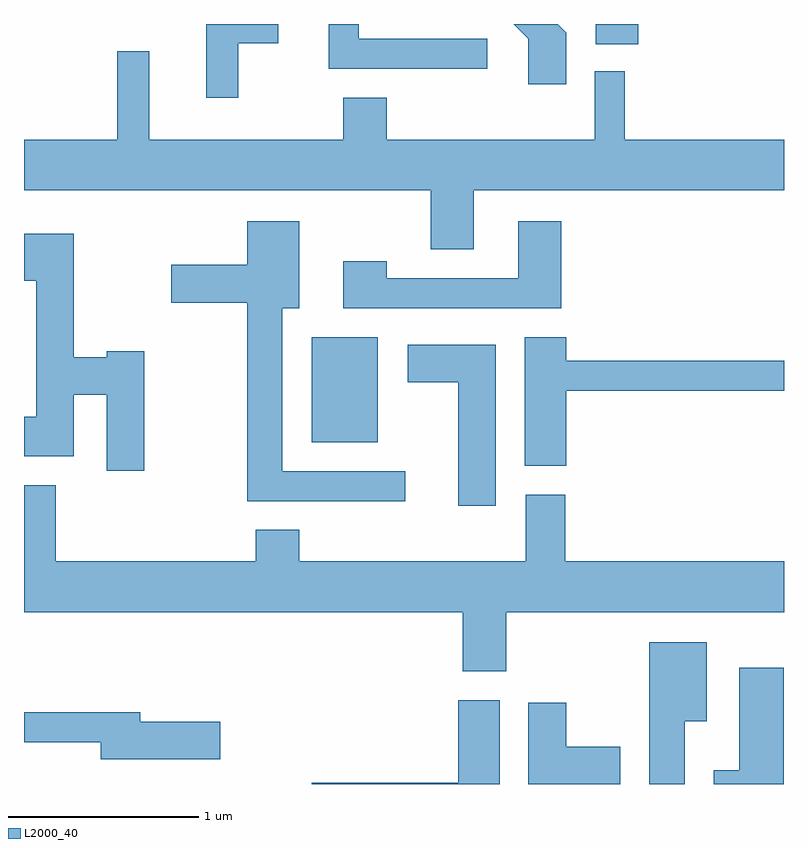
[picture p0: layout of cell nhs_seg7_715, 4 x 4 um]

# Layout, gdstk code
import gdstk
lib = gdstk.Library(unit=1e-6, precision=1e-09)
def R(c, l, rs):  # rectangles x0, y0, x1, y1
    for r in rs: c.add(gdstk.rectangle(r[:2], r[2:], *l))
def P(c, l, *ps):  # polygons
    for p in ps: c.add(gdstk.Polygon(p, *l))
L2000_40 = (2000, 40)

nhs_seg7_715 = lib.new_cell('nhs_seg7_715')
R(nhs_seg7_715, L2000_40, [(207.126,1764.051,207.474,1764.604), (208.621,1766.146,208.844,1766.252)])
P(nhs_seg7_715, L2000_40, [(206.739,1766.151),(206.949,1766.151),(206.949,1766.252),(206.571,1766.252),(206.571,1765.863),(206.739,1765.863)],
  [(208.464,1766.207),(208.419,1766.252),(208.188,1766.252),(208.266,1766.174),(208.266,1765.936),(208.464,1765.936)],
  [(208.048,1766.174),(207.374,1766.174),(207.374,1766.252),(207.216,1766.252),(207.216,1766.016),(208.048,1766.016)],
  [(207.979,1765.376),(209.611,1765.376),(209.611,1765.644),(208.774,1765.644),(208.774,1766.003),(208.616,1766.003),(208.616,1765.644),(207.519,1765.644),(207.519,1765.864),(207.291,1765.864),(207.291,1765.644),(206.269,1765.644),(206.269,1766.108),(206.101,1766.108),(206.101,1765.644),(205.611,1765.644),(205.611,1765.376),(207.751,1765.376),(207.751,1765.066),(207.979,1765.066)],
  [(208.439,1765.214),(208.211,1765.214),(208.211,1764.914),(207.519,1764.914),(207.519,1765.004),(207.291,1765.004),(207.291,1764.756),(208.439,1764.756)],
  [(207.618,1763.899),(206.969,1763.899),(206.969,1764.756),(207.059,1764.756),(207.059,1765.214),(206.786,1765.214),(206.786,1764.984),(206.386,1764.984),(206.386,1764.786),(206.786,1764.786),(206.786,1763.741),(207.618,1763.741)],
  [(206.244,1764.529),(206.046,1764.529),(206.046,1764.499),(205.874,1764.499),(205.874,1765.149),(205.611,1765.149),(205.611,1764.901),(205.676,1764.901),(205.676,1764.184),(205.611,1764.184),(205.611,1763.976),(205.874,1763.976),(205.874,1764.301),(206.046,1764.301),(206.046,1763.901),(206.244,1763.901)],
  [(208.464,1764.321),(209.611,1764.321),(209.611,1764.479),(208.464,1764.479),(208.464,1764.604),(208.246,1764.604),(208.246,1763.926),(208.464,1763.926)],
  [(208.094,1764.564),(207.631,1764.564),(207.631,1764.366),(207.896,1764.366),(207.896,1763.716),(208.094,1763.716)],
  [(208.149,1763.156),(209.611,1763.156),(209.611,1763.424),(208.459,1763.424),(208.459,1763.774),(208.251,1763.774),(208.251,1763.424),(207.059,1763.424),(207.059,1763.589),(206.831,1763.589),(206.831,1763.424),(205.779,1763.424),(205.779,1763.824),(205.611,1763.824),(205.611,1763.156),(207.921,1763.156),(207.921,1762.846),(208.149,1762.846)],
  [(209.089,1762.581),(209.204,1762.581),(209.204,1762.999),(208.901,1762.999),(208.901,1762.252),(209.089,1762.252)],
  [(209.609,1762.864),(209.376,1762.864),(209.376,1762.324),(209.241,1762.324),(209.241,1762.252),(209.609,1762.252)],
  [(208.114,1762.694),(207.896,1762.694),(207.896,1762.259),(207.126,1762.259),(207.126,1762.252),(208.114,1762.252)],
  [(208.749,1762.449),(208.464,1762.449),(208.464,1762.679),(208.266,1762.679),(208.266,1762.252),(208.749,1762.252)],
  [(206.644,1762.579),(206.224,1762.579),(206.224,1762.629),(205.611,1762.629),(205.611,1762.471),(206.016,1762.471),(206.016,1762.381),(206.644,1762.381)])

lib.write_gds('nhs_seg7_715.gds')
